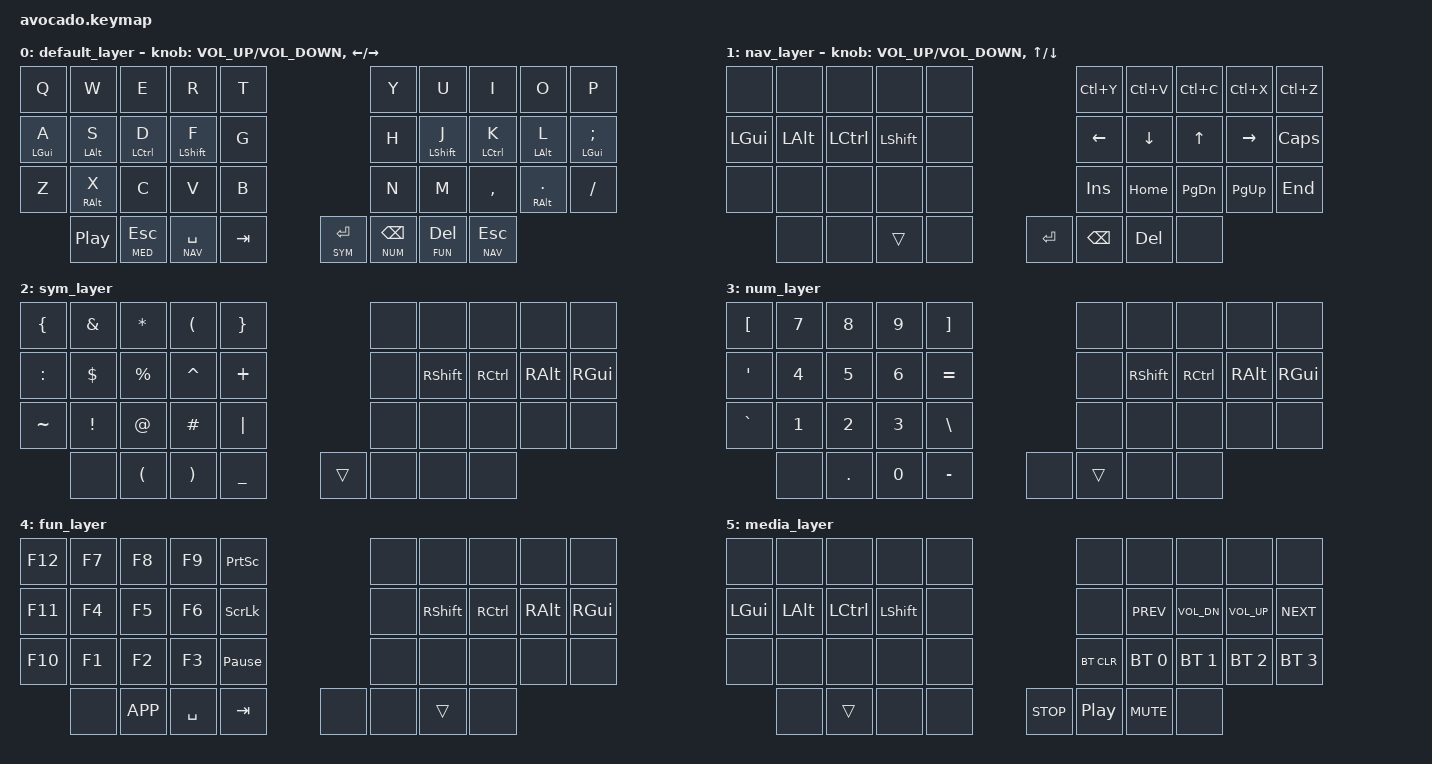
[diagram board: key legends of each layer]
#include <behaviors.dtsi>
#include <dt-bindings/zmk/keys.h>
#include <dt-bindings/zmk/bt.h>

// The default keymap is roughly on Miryoku layout
// (https://github.com/manna-harbour/miryoku).
// Customize on your own on the config folder.

#define BASE    0
#define NAV     1
#define SYM     2
#define NUM     3
#define FUN     4
#define MED     5


  #define U_THUMB_INNER &none
  #define U_TOG_TP_SET &none

/ {
    behaviors {
        hm: homerow_mods {
            compatible = "zmk,behavior-hold-tap";
            label = "HOMEROW_MODS";
            #binding-cells = <2>;
            tapping-term-ms = <150>;
            quick-tap-ms = <0>;
            flavor = "tap-preferred";
            bindings = <&kp>, <&kp>;
        };
      rot_kp: sensor_rotate_kp {
            compatible = "zmk,behavior-sensor-rotate-var";
            #sensor-binding-cells = <2>;
            bindings = <&kp>, <&kp>;
        };
    };

    keymap {
        compatible = "zmk,keymap";

        default_layer {
            bindings = <
    &kp Q       &kp W       &kp E       &kp R       &kp T                                   &kp Y           &kp U       &kp I       &kp O           &kp P
    &hm LGUI A  &hm LALT S  &hm LCTRL D &hm LSHFT F &kp G                                   &kp H           &hm LSHFT J &hm LCTRL K &hm LALT L      &hm LGUI SEMI
    &kp Z       &hm RALT X  &kp C       &kp V       &kp B                                   &kp N           &kp M       &kp COMMA   &hm RALT DOT    &kp FSLH
                      &kp C_PLAY_PAUSE  &lt MED ESC &lt NAV SPACE   &kp TAB     &lt SYM RET &lt NUM BSPC    &lt FUN DEL &lt NAV ESC
            >;

         sensor-bindings = <&rot_kp C_VOLUME_UP C_VOLUME_DOWN>, <&rot_kp LEFT RIGHT>;
        };

        nav_layer {
            bindings = <
    &none       &none       &none       &none       &none                           &kp LC(Y)   &kp LC(V)   &kp LC(C)   &kp LC(X)   &kp LC(Z)
    &kp LGUI    &kp LALT    &kp LCTRL   &kp LSHFT   &none                           &kp LEFT    &kp DOWN    &kp UP    &kp RIGHT      &kp CAPS
    &none       &none       &none       &none       &none                           &kp INS     &kp HOME    &kp PG_DN   &kp PG_UP   &kp END
                            &none       &none       &trans  &none       &kp RET     &kp BSPC    &kp DEL     &none
            >;
         sensor-bindings = <&rot_kp C_VOLUME_UP C_VOLUME_DOWN>, <&rot_kp UP DOWN>;
        };

        sym_layer {
            bindings = <
    &kp LBRC    &kp AMPS    &kp STAR    &kp LPAR   &kp RBRC                     &none       &none       &none       &none       &none
    &kp COLON   &kp DLLR    &kp PRCNT   &kp CARET  &kp PLUS                     &none       &kp RSHFT   &kp RCTRL   &kp RALT    &kp RGUI
    &kp TILDE   &kp EXCL    &kp AT      &kp HASH   &kp PIPE                     &none       &none       &none       &none       &none
                            &none       &kp LPAR   &kp RPAR &kp UNDER   &trans  &none       &none       &none
            >;
        };

        num_layer {
            bindings = <
    &kp LBKT    &kp N7  &kp N8  &kp N9  &kp RBKT                        &none   &none       &none       &none       &none
    &kp SQT     &kp N4  &kp N5  &kp N6  &kp EQUAL                       &none   &kp RSHFT   &kp RCTRL   &kp RALT    &kp RGUI
    &kp GRAVE   &kp N1  &kp N2  &kp N3  &kp BSLH                        &none   &none       &none       &none       &none
                        &none   &kp DOT &kp N0      &kp MINUS   &none   &trans  &none       &none
            >;
        };

        fun_layer {
            bindings = <
    &kp F12 &kp F7  &kp F8  &kp F9      &kp PSCRN                           &none   &none       &none       &none       &none
    &kp F11 &kp F4  &kp F5  &kp F6      &kp SLCK                            &none   &kp RSHFT   &kp RCTRL   &kp RALT    &kp RGUI
    &kp F10 &kp F1  &kp F2  &kp F3      &kp PAUSE_BREAK                     &none   &none       &none       &none       &none
                    &none   &kp K_APP   &kp SPACE       &kp TAB     &none   &none   &trans      &none
            >;
        };

        media_layer {
            bindings = <
    &none       &none       &none       &none       &none                           &none       &none         &none         &none           &none
    &kp LGUI    &kp LALT    &kp LCTRL   &kp LSHFT   &none                           &none       &kp C_PREV    &kp C_VOL_DN  &kp C_VOL_UP    &kp C_NEXT
    &none       &none       &none       &none       &none                           &bt BT_CLR  &bt BT_SEL 0  &bt BT_SEL 1  &bt BT_SEL 2    &bt BT_SEL 3     
                            &none       &trans      &none   &none       &kp C_STOP  &kp C_PP    &kp C_MUTE    &none
            >;
        };
    };
};
